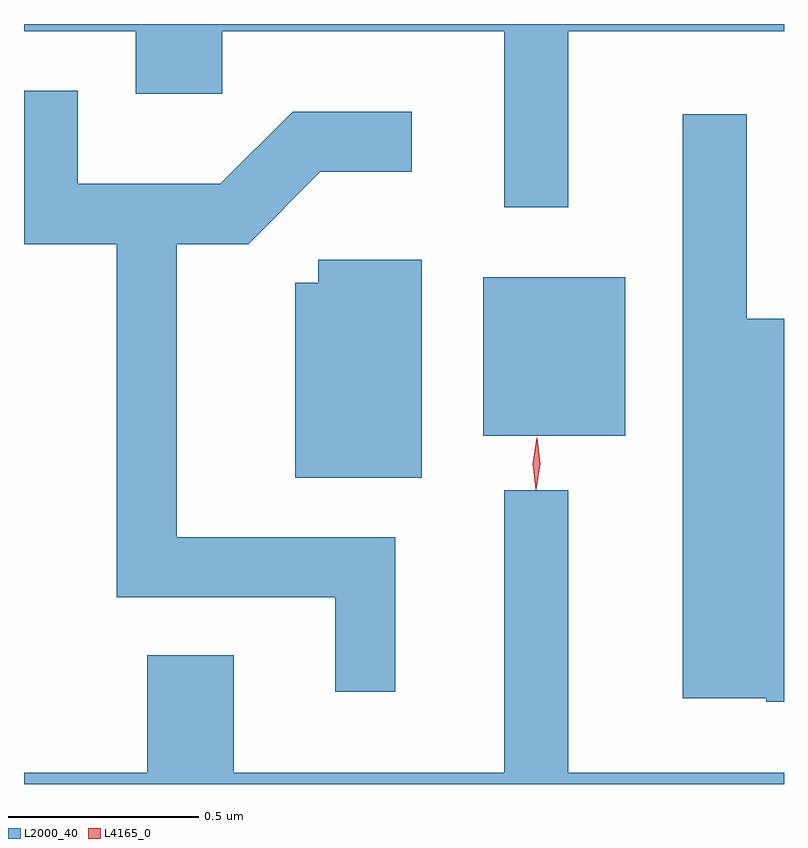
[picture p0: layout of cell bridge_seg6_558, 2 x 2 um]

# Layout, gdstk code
import gdstk
lib = gdstk.Library(unit=1e-6, precision=1e-09)
def R(c, l, rs):  # rectangles x0, y0, x1, y1
    for r in rs: c.add(gdstk.rectangle(r[:2], r[2:], *l))
def P(c, l, *ps):  # polygons
    for p in ps: c.add(gdstk.Polygon(p, *l))
L2000_40 = (2000, 40)
L4165_0 = (4165, 0)

bridge_seg6_558 = lib.new_cell('bridge_seg6_558')
R(bridge_seg6_558, L2000_40, [(542.376,1644.431,542.749,1644.849)])
P(bridge_seg6_558, L2000_40, [(542.599,1645.496),(543.167,1645.496),(543.167,1645.515),(541.167,1645.515),(541.167,1645.496),(541.461,1645.496),(541.461,1645.331),(541.689,1645.331),(541.689,1645.496),(542.431,1645.496),(542.431,1645.033),(542.599,1645.033)],
  [(542.144,1644.164),(541.569,1644.164),(541.569,1644.936),(541.757,1644.936),(541.947,1645.126),(542.188,1645.126),(542.188,1645.284),(541.874,1645.284),(541.684,1645.094),(541.309,1645.094),(541.309,1645.339),(541.167,1645.339),(541.167,1644.936),(541.411,1644.936),(541.411,1644.006),(541.986,1644.006),(541.986,1643.758),(542.144,1643.758)],
  [(543.167,1644.739),(543.069,1644.739),(543.069,1645.278),(542.901,1645.278),(542.901,1643.741),(543.12,1643.741),(543.12,1643.731),(543.167,1643.731)],
  [(542.214,1644.894),(541.941,1644.894),(541.941,1644.834),(541.881,1644.834),(541.881,1644.321),(542.214,1644.321)],
  [(543.167,1643.544),(542.599,1643.544),(542.599,1644.288),(542.431,1644.288),(542.431,1643.544),(541.719,1643.544),(541.719,1643.854),(541.491,1643.854),(541.491,1643.544),(541.167,1643.544),(541.167,1643.515),(543.167,1643.515)])
P(bridge_seg6_558, L4165_0, [(542.514,1644.293),(542.506,1644.358),(542.516,1644.421),(542.517,1644.422),(542.518,1644.421),(542.526,1644.357),(542.515,1644.293),(542.515,1644.293)],
  [(542.514,1644.29),(542.506,1644.358),(542.516,1644.426),(542.517,1644.426),(542.518,1644.426),(542.526,1644.358),(542.515,1644.29),(542.515,1644.29)])

lib.write_gds('bridge_seg6_558.gds')
